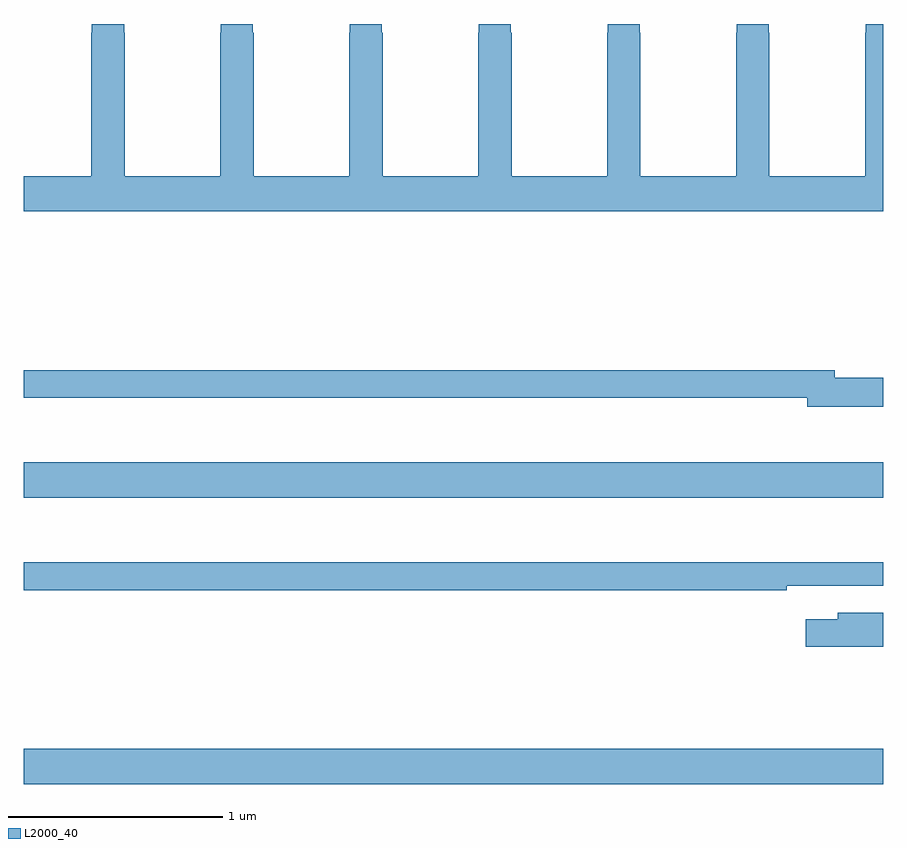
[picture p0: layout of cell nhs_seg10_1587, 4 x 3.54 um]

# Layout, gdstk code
import gdstk
lib = gdstk.Library(unit=1e-6, precision=1e-09)
def R(c, l, rs):  # rectangles x0, y0, x1, y1
    for r in rs: c.add(gdstk.rectangle(r[:2], r[2:], *l))
def P(c, l, *ps):  # polygons
    for p in ps: c.add(gdstk.Polygon(p, *l))
L2000_40 = (2000, 40)

nhs_seg10_1587 = lib.new_cell('nhs_seg10_1587')
R(nhs_seg10_1587, L2000_40, [(193,1318.964,197,1319.128), (193,1320.296,197,1320.46)])
P(nhs_seg10_1587, L2000_40, [(197,1322.5),(196.917,1322.5),(196.917,1322.459),(196.915,1322.459),(196.915,1321.792),(196.47,1321.792),(196.47,1322.459),(196.467,1322.459),(196.467,1322.5),(196.317,1322.5),(196.317,1322.459),(196.315,1322.459),(196.315,1321.792),(195.87,1321.792),(195.87,1322.459),(195.867,1322.459),(195.867,1322.5),(195.717,1322.5),(195.717,1322.459),(195.715,1322.459),(195.715,1321.792),(195.27,1321.792),(195.27,1322.459),(195.267,1322.459),(195.267,1322.5),(195.117,1322.5),(195.117,1322.459),(195.115,1322.459),(195.115,1321.792),(194.67,1321.792),(194.67,1322.459),(194.667,1322.459),(194.667,1322.5),(194.517,1322.5),(194.517,1322.459),(194.515,1322.459),(194.515,1321.792),(194.07,1321.792),(194.07,1322.459),(194.067,1322.459),(194.067,1322.5),(193.917,1322.5),(193.917,1322.459),(193.915,1322.459),(193.915,1321.792),(193.47,1321.792),(193.47,1322.459),(193.467,1322.459),(193.467,1322.5),(193.317,1322.5),(193.317,1322.459),(193.315,1322.459),(193.315,1321.792),(193,1321.792),(193,1321.628),(197,1321.628)],
  [(197,1320.854),(196.774,1320.854),(196.774,1320.89),(193,1320.89),(193,1320.762),(196.646,1320.762),(196.646,1320.719),(197,1320.719)],
  [(196.55,1319.886),(197,1319.886),(197,1319.995),(193,1319.995),(193,1319.866),(196.55,1319.866)],
  [(197,1319.76),(196.787,1319.76),(196.787,1319.731),(196.638,1319.731),(196.638,1319.602),(197,1319.602)])

lib.write_gds('nhs_seg10_1587.gds')
